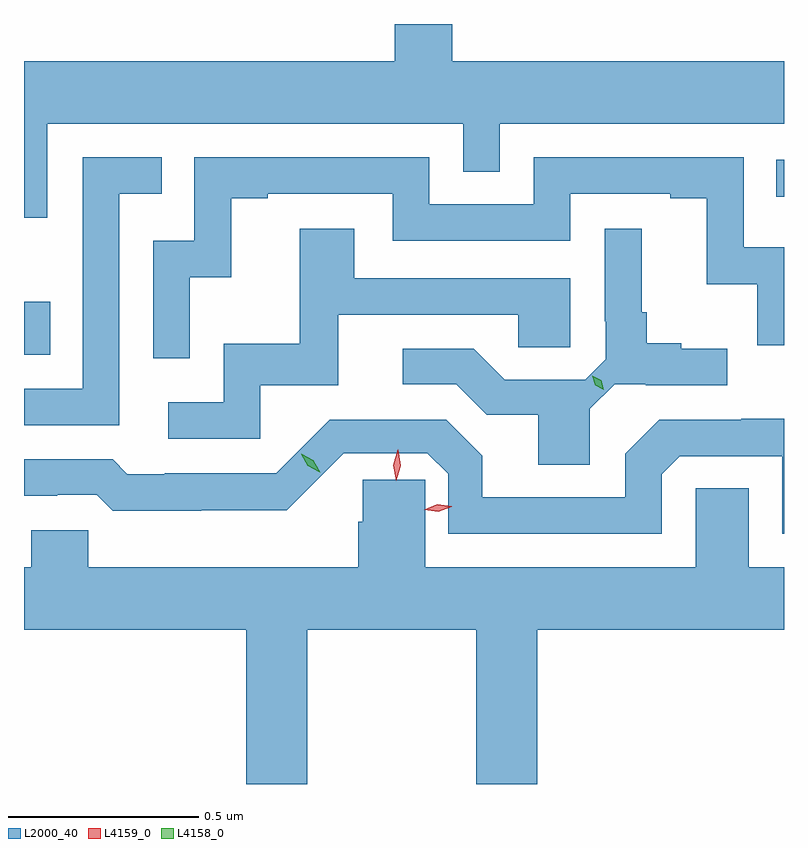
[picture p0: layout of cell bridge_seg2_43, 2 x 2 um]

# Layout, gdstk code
import gdstk
lib = gdstk.Library(unit=1e-6, precision=1e-09)
def R(c, l, rs):  # rectangles x0, y0, x1, y1
    for r in rs: c.add(gdstk.rectangle(r[:2], r[2:], *l))
def P(c, l, *ps):  # polygons
    for p in ps: c.add(gdstk.Polygon(p, *l))
L2000_40 = (2000, 40)
L4158_0 = (4158, 0)
L4159_0 = (4159, 0)

bridge_seg2_43 = lib.new_cell('bridge_seg2_43')
R(bridge_seg2_43, L2000_40, [(1011.278,635.039,1011.347,635.179), (1013.257,635.456,1013.278,635.553)])
P(bridge_seg2_43, L2000_40, [(1011.339,635.648),(1012.434,635.648),(1012.434,635.521),(1012.53,635.521),(1012.53,635.648),(1013.278,635.648),(1013.278,635.812),(1012.405,635.812),(1012.405,635.91),(1012.253,635.91),(1012.253,635.812),(1011.278,635.812),(1011.278,635.4),(1011.339,635.4)],
  [(1011.714,635.243),(1011.824,635.243),(1011.824,635.451),(1011.919,635.451),(1011.919,635.463),(1012.248,635.463),(1012.248,635.34),(1012.716,635.34),(1012.716,635.463),(1012.979,635.463),(1012.979,635.451),(1013.075,635.451),(1013.075,635.225),(1013.208,635.225),(1013.208,635.064),(1013.278,635.064),(1013.278,635.323),(1013.172,635.323),(1013.172,635.559),(1012.62,635.559),(1012.62,635.436),(1012.344,635.436),(1012.344,635.559),(1011.726,635.559),(1011.726,635.34),(1011.618,635.34),(1011.618,635.031),(1011.714,635.031)],
  [(1011.528,635.463),(1011.641,635.463),(1011.641,635.559),(1011.432,635.559),(1011.432,634.95),(1011.278,634.95),(1011.278,634.854),(1011.528,634.854)],
  [(1012.767,634.897),(1012.832,634.962),(1012.914,634.962),(1012.914,634.959),(1013.128,634.959),(1013.128,635.056),(1013.007,635.056),(1013.007,635.07),(1012.917,635.07),(1012.917,635.152),(1012.903,635.152),(1012.903,635.371),(1012.806,635.371),(1012.806,635.128),(1012.809,635.128),(1012.809,635.028),(1012.755,634.974),(1012.543,634.974),(1012.462,635.055),(1012.275,635.055),(1012.275,634.962),(1012.416,634.962),(1012.496,634.882),(1012.631,634.882),(1012.631,634.75),(1012.767,634.75)],
  [(1011.9,634.959),(1012.105,634.959),(1012.105,635.145),(1012.579,635.145),(1012.579,635.06),(1012.716,635.06),(1012.716,635.241),(1012.147,635.241),(1012.147,635.371),(1012.003,635.371),(1012.003,635.068),(1011.804,635.068),(1011.804,634.914),(1011.657,634.914),(1011.657,634.818),(1011.9,634.818)],
  [(1012.956,634.725),(1013.004,634.773),(1013.274,634.773),(1013.274,634.569),(1013.278,634.569),(1013.278,634.871),(1013.166,634.871),(1013.166,634.869),(1012.95,634.869),(1012.86,634.779),(1012.86,634.665),(1012.484,634.665),(1012.484,634.774),(1012.389,634.869),(1012.083,634.869),(1011.942,634.728),(1011.649,634.728),(1011.649,634.725),(1011.55,634.725),(1011.511,634.764),(1011.278,634.764),(1011.278,634.668),(1011.366,634.668),(1011.366,634.671),(1011.469,634.671),(1011.511,634.629),(1011.744,634.629),(1011.744,634.631),(1011.97,634.631),(1012.12,634.781),(1012.339,634.781),(1012.394,634.726),(1012.394,634.569),(1012.956,634.569)],
  [(1012.023,634.316),(1012.468,634.316),(1012.468,633.91),(1012.628,633.91),(1012.628,634.316),(1013.278,634.316),(1013.278,634.48),(1013.185,634.48),(1013.185,634.688),(1013.046,634.688),(1013.046,634.48),(1012.334,634.48),(1012.334,634.711),(1012.169,634.711),(1012.169,634.6),(1012.157,634.6),(1012.157,634.48),(1011.447,634.48),(1011.447,634.578),(1011.297,634.578),(1011.297,634.48),(1011.278,634.48),(1011.278,634.316),(1011.863,634.316),(1011.863,633.91),(1012.023,633.91)])
P(bridge_seg2_43, L4158_0, [(1012.804,634.947),(1012.781,634.959),(1012.774,634.984),(1012.774,634.984),(1012.774,634.984),(1012.797,634.972),(1012.804,634.947),(1012.804,634.947)],
  [(1012.056,634.73),(1012.025,634.747),(1012.007,634.778),(1012.007,634.779),(1012.008,634.779),(1012.039,634.762),(1012.057,634.731),(1012.057,634.73)])
P(bridge_seg2_43, L4159_0, [(1012.368,634.626),(1012.331,634.632),(1012.331,634.632),(1012.331,634.632),(1012.366,634.646),(1012.403,634.641),(1012.403,634.641),(1012.403,634.64)],
  [(1012.257,634.708),(1012.257,634.708),(1012.25,634.749),(1012.262,634.789),(1012.262,634.789),(1012.263,634.789),(1012.27,634.748),(1012.257,634.708)])

lib.write_gds('bridge_seg2_43.gds')
